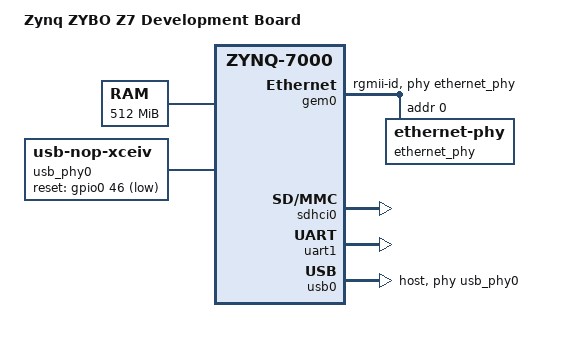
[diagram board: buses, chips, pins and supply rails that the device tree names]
// SPDX-License-Identifier: GPL-2.0+
/dts-v1/;
#include "zynq-7000.dtsi"

/ {
	model = "Zynq ZYBO Z7 Development Board";
	compatible = "digilent,zynq-zybo-z7", "xlnx,zynq-7000";

	aliases {
		ethernet0 = &gem0;
		serial0 = &uart1;
	};

	memory@0 {
		device_type = "memory";
		reg = <0x0 0x20000000>;
	};

	chosen {
		bootargs = "";
		stdout-path = "serial0:115200n8";
	};

	usb_phy0: phy0 {
		#phy-cells = <0>;
		compatible = "usb-nop-xceiv";
		reset-gpios = <&gpio0 46 1>;
	};
};

&clkc {
	ps-clk-frequency = <33333333>;
};

&gem0 {
	status = "okay";
	phy-mode = "rgmii-id";
	phy-handle = <&ethernet_phy>;

	ethernet_phy: ethernet-phy@0 {
		reg = <0>;
		device_type = "ethernet-phy";
	};
};

&sdhci0 {
	status = "okay";
};

&uart1 {
	status = "okay";
};

&usb0 {
	status = "okay";
	dr_mode = "host";
	usb-phy = <&usb_phy0>;
};
